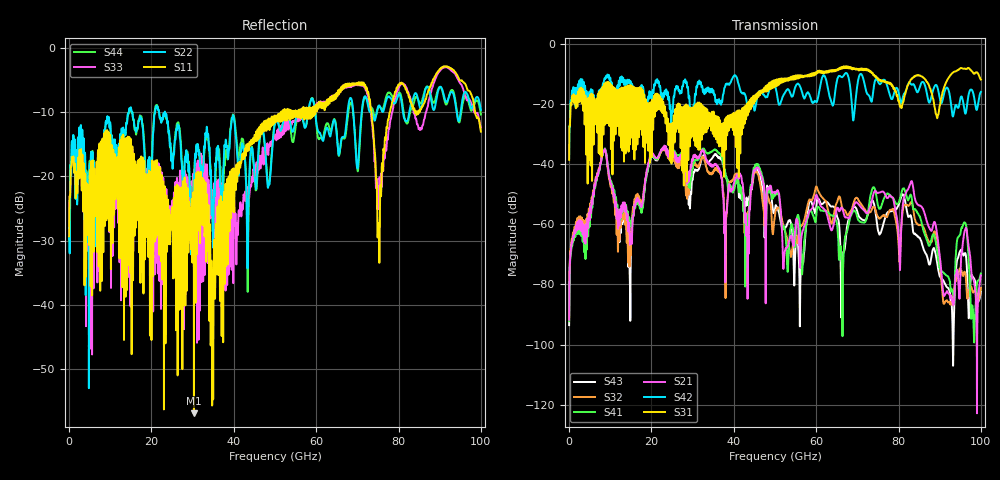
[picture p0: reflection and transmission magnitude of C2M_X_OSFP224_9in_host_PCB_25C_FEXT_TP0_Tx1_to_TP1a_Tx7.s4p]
# GHz S RI R 45
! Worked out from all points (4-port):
!   4000 points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, 25 MHz to 100 GHz, reference 45 ohm
!   strongest paths, dB at 25 MHz, 25.02 GHz, 50.02 GHz, 75.03 GHz, 100 GHz:
!     S31: -38.5, -26.9, -12.0, -11.8, -11.8
!     S42: -37.9, -22.2, -13.8, -12.5, -15.9
!     S21: -91.7, -37.1, -49.8, -49.6, -77.0
!     S41: -92.2, -36.2, -50.4, -53.7, -76.3
!     S32: -90.1, -38.3, -56.8, -57.7, -81.1
!     S43: -93.5, -37.3, -55.0, -62.0, -82.4
!   lowest |S11| = -56.9 dB at 30.32 GHz (marker M1), VSWR 1.00, Z = 45.1 + j0.0513 ohm
!   |S11| at or under -10 dB: start of sweep to 51.53 GHz; 73.45 GHz to 77.93 GHz (4.484 GHz wide, 5.92 % of centre); 98.59 GHz to end of sweep (the widest 3 of 29)
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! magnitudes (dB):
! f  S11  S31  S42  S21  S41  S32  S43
! 25 MHz  -29.3  -38.5  -37.9  -91.7  -92.2  -90.1  -93.5
! 8.45 GHz  -14.5  -15.0  -12.6  -35.7  -35.7  -35.8  -35.8
! 14.57 GHz  -15.7  -14.4  -11.9  -59.5  -57.6  -66.5  -68.1
! 20.02 GHz  -45.5  -37.6  -17.4  -36.4  -37.0  -36.7  -37.4
! 30.32 GHz  -56.9  -29.7  -20.5  -37.3  -39.5  -40.0  -42.7
! 83.1 GHz  -8.6  -11.7  -13.5  -45.7  -50.5  -52.6  -57.7
! 100 GHz  -13.1  -11.8  -15.9  -77.0  -76.3  -81.1  -82.4
